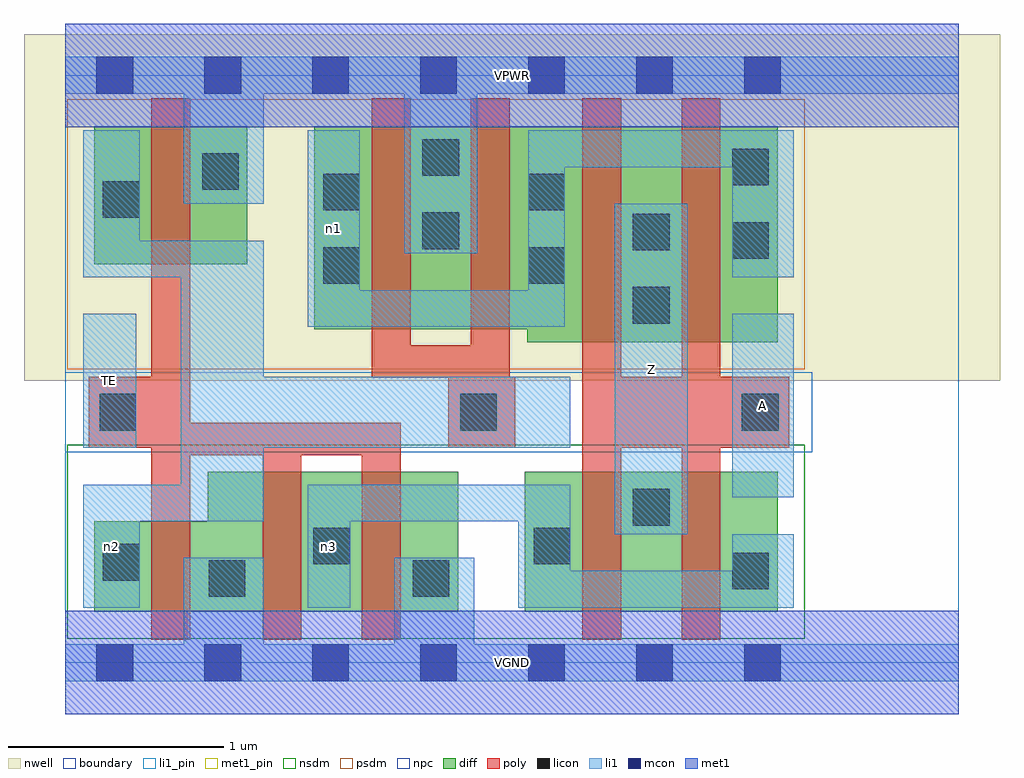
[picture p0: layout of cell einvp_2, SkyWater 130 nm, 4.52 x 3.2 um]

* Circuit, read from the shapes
.subckt einvp_2 A TE VGND VPWR Z n1 n2 n3
XM1 VGND TE n2 VSUBS sky130_fd_pr__nfet_01v8 w=0.42 l=0.18
XM2 n3 TE VGND VSUBS sky130_fd_pr__nfet_01v8 w=0.65 l=0.18 m=2
XM3 Z A n3 VSUBS sky130_fd_pr__nfet_01v8 w=0.65 l=0.18 m=2
XM4 VPWR TE n2 n4 sky130_fd_pr__pfet_01v8 w=0.64 l=0.18
XM5 VPWR n2 n1 n4 sky130_fd_pr__pfet_01v8 w=0.94 l=0.18 m=2
XM6 Z A n1 n4 sky130_fd_pr__pfet_01v8 w=1 l=0.18 m=2
.ends

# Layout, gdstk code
import gdstk
lib = gdstk.Library(unit=1e-6, precision=1e-09)
def R(c, l, rs):  # rectangles x0, y0, x1, y1
    for r in rs: c.add(gdstk.rectangle(r[:2], r[2:], *l))
def A(c, l, x, y, w, h, nx, ny, dx, dy):  # array of equal rectangles
    R(c, l, [(x+i*dx, y+j*dy, x+i*dx+w, y+j*dy+h) for i in range(nx) for j in range(ny)])
nwell = (64, 20)
diff = (65, 20)
poly = (66, 20)
licon = (66, 44)
li1_pin = (67, 16)
li1 = (67, 20)
mcon = (67, 44)
met1_pin = (68, 16)
met1 = (68, 20)
nsdm = (93, 44)
psdm = (94, 20)
npc = (95, 20)
boundary = (235, 4)

einvp_2 = lib.new_cell('einvp_2')
R(einvp_2, nwell, [(-0.19,1.305,4.33,2.91), (0,1.305,4.14,2.91)])
R(einvp_2, diff, [(0.135,0.235,1.82,0.655), (0.66,0.235,1.82,0.885), (2.13,0.235,3.3,0.885), (2.14,1.485,3.3,2.485), (1.155,1.545,3.3,2.485), (0.135,1.845,0.845,2.485)])
R(einvp_2, poly, [(0.4,0.105,0.58,2.615), (0.915,0.105,1.095,1.11), (1.375,0.105,1.555,1.11), (2.395,0.105,2.575,2.615), (2.855,0.105,3.035,2.615), (0.4,0.96,1.555,1.11), (0.11,0.995,0.58,1.325), (1.775,0.995,2.06,1.47), (1.775,0.995,2.085,1.325), (1.88,0.995,2.06,2.615), (2.395,0.995,3.355,1.325), (1.42,1.32,1.6,2.615), (1.42,1.32,2.06,1.47)])
R(einvp_2, licon, [(0.665,0.305,0.835,0.475), (1.61,0.305,1.78,0.475), (3.09,0.34,3.26,0.51), (0.175,0.38,0.345,0.55), (1.15,0.455,1.32,0.625), (2.17,0.455,2.34,0.625), (2.63,0.635,2.8,0.805), (0.16,1.075,0.33,1.245), (1.83,1.075,2,1.245), (3.135,1.075,3.305,1.245), (2.63,1.57,2.8,1.74), (1.195,1.755,1.365,1.925), (2.145,1.755,2.315,1.925), (3.09,1.87,3.26,2.04), (2.63,1.91,2.8,2.08), (1.655,1.915,1.825,2.085), (0.175,2.06,0.345,2.23), (1.195,2.095,1.365,2.265), (2.145,2.095,2.315,2.265), (0.635,2.19,0.805,2.36), (3.09,2.21,3.26,2.38), (1.655,2.255,1.825,2.425)])
R(einvp_2, li1_pin, [(2.545,0.595,2.885,2.125), (3.09,0.765,3.375,1.615), (0.085,0.995,0.33,1.615)])
R(einvp_2, li1, [(0,-0.085,4.14,0.085), (0.55,-0.085,0.92,0.485), (1.525,-0.085,1.895,0.485), (0.085,0.255,0.345,0.825), (1.125,0.255,1.32,0.825), (2.1,0.255,3.375,0.425), (2.1,0.255,2.34,0.825), (3.09,0.255,3.375,0.595), (2.545,0.595,2.885,2.125), (0.085,0.655,0.92,0.825), (0.535,0.655,0.92,1.955), (1.125,0.655,2.34,0.825), (3.09,0.765,3.375,1.615), (0.085,0.995,0.33,1.615), (0.535,0.995,2.34,1.325), (1.125,1.555,1.365,2.465), (1.125,1.555,2.315,1.725), (2.145,1.555,2.315,2.465), (0.085,1.785,0.92,1.955), (0.085,1.785,0.345,2.465), (3.09,1.785,3.375,2.465), (1.57,1.895,1.91,2.805), (0.55,2.125,0.92,2.805), (2.145,2.295,3.375,2.465), (0,2.635,4.14,2.805)])
A(einvp_2, mcon, 0.145, -0.085, 0.17, 0.17, 7, 2, 0.5, 2.72)
R(einvp_2, met1_pin, [(0,-0.24,4.14,0.24), (0,2.48,4.14,2.96)])
R(einvp_2, met1, [(0,-0.24,4.14,0.24), (0,2.48,4.14,2.96)])
R(einvp_2, nsdm, [(0.01,0.11,3.425,1.01)])
R(einvp_2, psdm, [(0.01,1.36,3.425,2.61)])
R(einvp_2, npc, [(0,0.975,3.46,1.345)])
R(einvp_2, boundary, [(0,0,4.14,2.72)])
einvp_2.add(gdstk.Label('A', (3.232,1.19), layer=67, texttype=5))
einvp_2.add(gdstk.Label('TE', (0.207,1.305), layer=67, texttype=5))
einvp_2.add(gdstk.Label('Z', (2.715,1.36), layer=67, texttype=5))
einvp_2.add(gdstk.Label('n3', (1.222,0.54), layer=67, texttype=5))
einvp_2.add(gdstk.Label('n2', (0.215,0.54), layer=67, texttype=5))
einvp_2.add(gdstk.Label('n1', (1.245,2.01), layer=67, texttype=5))
einvp_2.add(gdstk.Label('VPWR', (2.07,2.72), layer=68, texttype=5))
einvp_2.add(gdstk.Label('VGND', (2.07,0), layer=68, texttype=5))
einvp_2.add(gdstk.Label('A', (3.232,1.19), layer=67, texttype=16))
einvp_2.add(gdstk.Label('TE', (0.207,1.305), layer=67, texttype=16))
einvp_2.add(gdstk.Label('Z', (2.715,1.36), layer=67, texttype=16))
einvp_2.add(gdstk.Label('VPWR', (2.07,2.72), layer=68, texttype=16))
einvp_2.add(gdstk.Label('VGND', (2.07,0), layer=68, texttype=16))

lib.write_gds('einvp_2.gds')
